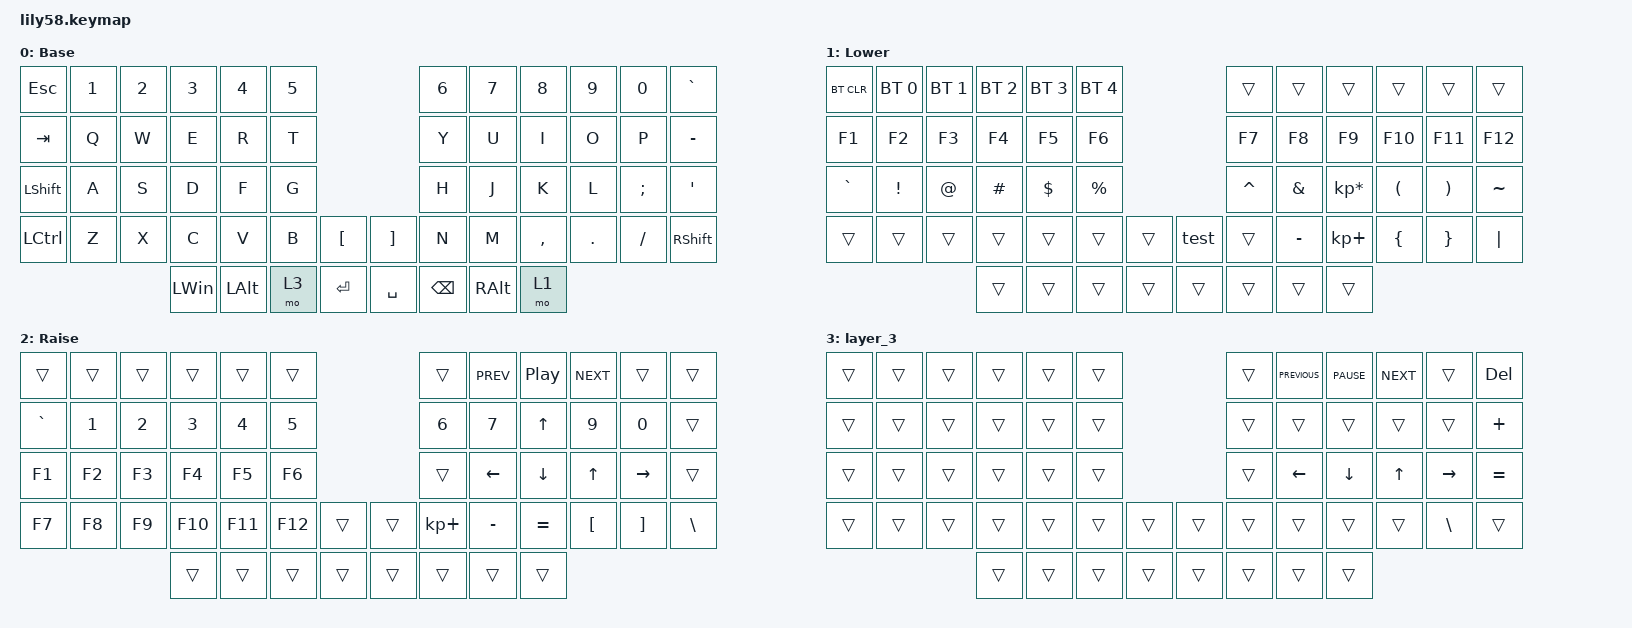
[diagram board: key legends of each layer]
/*
 * Copyright (c) 2020 The ZMK Contributors
 *
 * SPDX-License-Identifier: MIT
 */

#include <behaviors.dtsi>
#include <dt-bindings/zmk/bt.h>
#include <dt-bindings/zmk/keys.h>

/ {
    macros {
        test: test {
            compatible = "zmk,behavior-macro";
            #binding-cells = <0>;
            bindings = <&kp J &kp E &kp B &kp A &kp C &kp SPACE &kp Z &kp Y &kp D &kp O &kp W &kp SPACE &kp N &kp I &kp E &kp N &kp A &kp W &kp I &kp D &kp Z &kp E &kp SPACE &kp S &kp K &kp U &kp R &kp W &kp Y &kp S &kp Y &kp N &kp O &kp W>;
            label = "TEST";
        };
    };

    keymap {
        compatible = "zmk,keymap";

        default_layer {
            // ------------------------------------------------------------------------------------------------------------
            // |  ESC  |  1  |  2  |  3   |  4   |  5   |                   |  6   |  7    |  8    |  9   |   0   |   `   |
            // |  TAB  |  Q  |  W  |  E   |  R   |  T   |                   |  Y   |  U    |  I    |  O   |   P   |   -   |
            // |  CTRL |  A  |  S  |  D   |  F   |  G   |                   |  H   |  J    |  K    |  L   |   ;   |   '   |
            // | SHIFT |  Z  |  X  |  C   |  V   |  B   |   "["  |  |  "]"  |  N   |  M    |  ,    |  .   |   /   | SHIFT |
            //                     | ALT  | GUI  | LOWER|  SPACE |  | ENTER | RAISE| BSPC  | GUI   |

            display-name = "Base";
            bindings = <
&kp ESC           &kp N1  &kp N2  &kp N3        &kp N4        &kp N5                          &kp N6         &kp N7         &kp N8     &kp N9   &kp N0    &kp GRAVE
&kp TAB           &kp Q   &kp W   &kp E         &kp R         &kp T                           &kp Y          &kp U          &kp I      &kp O    &kp P     &kp MINUS
&kp LEFT_SHIFT    &kp A   &kp S   &kp D         &kp F         &kp G                           &kp H          &kp J          &kp K      &kp L    &kp SEMI  &kp SQT
&kp LEFT_CONTROL  &kp Z   &kp X   &kp C         &kp V         &kp B   &kp LBKT     &kp RBKT   &kp N          &kp M          &kp COMMA  &kp DOT  &kp FSLH  &kp RSHFT
                                  &kp LEFT_WIN  &kp LEFT_ALT  &mo 3   &kp ENTER    &kp SPACE  &kp BACKSPACE  &kp RIGHT_ALT  &mo 1
            >;
        };

        lower_layer {
            // ------------------------------------------------------------------------------------------------------------
            // | BTCLR | BT1 | BT2 |  BT3 |  BT4 |  BT5 |                   |      |       |       |      |       |       |
            // |  F1   |  F2 |  F3 |  F4  |  F5  |  F6  |                   |  F7  |  F8   |  F9   |  F10 |  F11  |  F12  |
            // |   `   |  !  |  @  |  #   |  $   |  %   |                   |  ^   |  &    |  *    |  (   |   )   |   ~   |
            // |       |     |     |      |      |      |        |  |       |      |  _    |  +    |  {   |   }   |  "|"  |
            //                     |      |      |      |        |  |       |      |       |       |

            display-name = "Lower";
            bindings = <
&bt BT_CLR  &bt BT_SEL 0  &bt BT_SEL 1  &bt BT_SEL 2  &bt BT_SEL 3  &bt BT_SEL 4                    &trans     &trans     &trans           &trans    &trans    &trans
&kp F1      &kp F2        &kp F3        &kp F4        &kp F5        &kp F6                          &kp F7     &kp F8     &kp F9           &kp F10   &kp F11   &kp F12
&kp GRAVE   &kp EXCL      &kp AT        &kp HASH      &kp DOLLAR    &kp PRCNT                       &kp CARET  &kp AMPS   &kp KP_MULTIPLY  &kp LPAR  &kp RPAR  &kp TILDE
&trans      &trans        &trans        &trans        &trans        &trans        &trans    &test   &trans     &kp MINUS  &kp KP_PLUS      &kp LBRC  &kp RBRC  &kp PIPE
                                        &trans        &trans        &trans        &trans    &trans  &trans     &trans     &trans
            >;
        };

        raise_layer {
            // ------------------------------------------------------------------------------------------------------------
            // |       |     |     |      |      |      |                   |      |       |       |      |       |       |
            // |   `   |  1  |  2  |  3   |  4   |  5   |                   |  6   |   7   |   8   |  9   |   0   |       |
            // |   F1  |  F2 |  F3 |  F4  |  F5  |  F6  |                   |      |   <-  |   v   |  ^   |  ->   |       |
            // |   F7  |  F8 |  F9 |  F10 |  F11 |  F12 |        |  |       |  +   |   -   |   =   |  [   |   ]   |   \   |
            //                     |      |      |      |        |  |       |      |       |       |

            display-name = "Raise";
            bindings = <
&trans     &trans  &trans  &trans   &trans   &trans                     &trans       &kp C_PREV  &kp C_PLAY_PAUSE  &kp C_NEXT  &trans     &trans
&kp GRAVE  &kp N1  &kp N2  &kp N3   &kp N4   &kp N5                     &kp N6       &kp N7      &kp UP_ARROW      &kp N9      &kp N0     &trans
&kp F1     &kp F2  &kp F3  &kp F4   &kp F5   &kp F6                     &trans       &kp LEFT    &kp DOWN          &kp UP      &kp RIGHT  &trans
&kp F7     &kp F8  &kp F9  &kp F10  &kp F11  &kp F12  &trans    &trans  &kp KP_PLUS  &kp MINUS   &kp EQUAL         &kp LBKT    &kp RBKT   &kp BSLH
                           &trans   &trans   &trans   &trans    &trans  &trans       &trans      &trans
            >;
        };

        layer_3 {
            bindings = <
&trans  &trans  &trans  &trans  &trans  &trans                    &trans  &kp C_PREVIOUS  &kp C_PAUSE     &kp C_NEXT    &trans         &kp DEL
&trans  &trans  &trans  &trans  &trans  &trans                    &trans  &trans          &trans          &trans        &trans         &kp PLUS
&trans  &trans  &trans  &trans  &trans  &trans                    &trans  &kp LEFT_ARROW  &kp DOWN_ARROW  &kp UP_ARROW  &kp RIGHT      &kp EQUAL
&trans  &trans  &trans  &trans  &trans  &trans  &trans    &trans  &trans  &trans          &trans          &trans        &kp BACKSLASH  &trans
                        &trans  &trans  &trans  &trans    &trans  &trans  &trans          &trans
            >;
        };
    };
};
